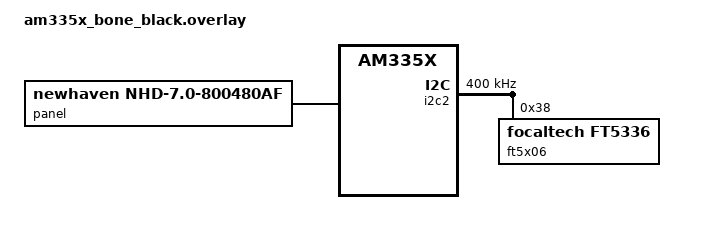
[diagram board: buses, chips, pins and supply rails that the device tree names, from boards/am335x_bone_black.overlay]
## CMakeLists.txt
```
# SPDX-License-Identifier: MIT
# Zephyr application for BeagleBone Black + NHD-7.0CTP-CAPE-P rlvgl demo.
#
# Build:
#   west build -b am335x_bone_black \
#       examples/beaglebone-black/zephyr
#
# The Rust static library is built separately and linked via
# target_link_libraries. Two-step build:
#
#   1. cargo build --target armv7a-none-eabihf \
#          -p rlvgl-example-bbb --features bare_metal,zephyr --lib
#   2. west build -b am335x_bone_black examples/beaglebone-black/zephyr

cmake_minimum_required(VERSION 3.20.0)
find_package(Zephyr REQUIRED HINTS $ENV{ZEPHYR_BASE})
project(rlvgl_bbb_zephyr C)

target_sources(app PRIVATE src/main.c)

# Link the Rust static library built by cargo.
set(RLVGL_RUST_LIB
    ${CMAKE_CURRENT_SOURCE_DIR}/../../../target/armv7a-none-eabihf/debug/librlvgl_example_bbb.a)

if(EXISTS ${RLVGL_RUST_LIB})
    target_link_libraries(app PUBLIC ${RLVGL_RUST_LIB})
else()
    message(WARNING "Rust library not found at ${RLVGL_RUST_LIB} — build the Rust side first.")
endif()
```

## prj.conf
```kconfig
# rlvgl BeagleBone Black + NHD-7.0CTP-CAPE-P Zephyr demo
#
# Kernel
CONFIG_MAIN_STACK_SIZE=16384
CONFIG_HEAP_MEM_POOL_SIZE=65536
CONFIG_SYSTEM_WORKQUEUE_STACK_SIZE=2048

# Display subsystem (LCDC driver required — may need custom driver)
CONFIG_DISPLAY=y

# I2C for FT5x06 touch controller
CONFIG_I2C=y
CONFIG_INPUT=y
CONFIG_INPUT_FT5336=y
CONFIG_INPUT_FT5336_INTERRUPT=n
CONFIG_INPUT_FT5336_PERIOD=10

# Synchronous input mode — avoids queue-full drops during render
CONFIG_INPUT_MODE_SYNCHRONOUS=y

# GPIO for backlight control
CONFIG_GPIO=y

# Serial console (UART0)
CONFIG_SERIAL=y
CONFIG_UART_INTERRUPT_DRIVEN=y
CONFIG_CONSOLE=y
CONFIG_UART_CONSOLE=y

# Logging
CONFIG_LOG=y
CONFIG_LOG_MODE_IMMEDIATE=y
CONFIG_LOG_DEFAULT_LEVEL=3

# Interrupts
CONFIG_DYNAMIC_INTERRUPTS=y
```

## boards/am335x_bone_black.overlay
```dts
/*
 * Device tree overlay for BeagleBone Black + NHD-7.0CTP-CAPE-P.
 *
 * Enables:
 * - LCDC with NHD panel timing (800x480, 33.3 MHz pclk)
 * - FT5x06 capacitive touch on I2C2 (address 0x38)
 * - Backlight GPIO
 *
 * NOTE: When the LCD cape is active, the on-board HDMI (TDA19988)
 * must be disabled since they share the LCDC and pin mux.
 */

/* FT5x06 capacitive touch on I2C2 */
&i2c2 {
	status = "okay";
	clock-frequency = <400000>;

	ft5x06@38 {
		compatible = "focaltech,ft5336";
		reg = <0x38>;
		/* int-gpios = <&gpio1 PIN GPIO_ACTIVE_LOW>; */
		/* TODO: confirm interrupt GPIO from cape schematic */
	};
};

/* LCD panel timing (for LCDC display driver) */
/ {
	panel: panel {
		compatible = "newhaven,nhd-7.0-800480af";
		status = "okay";

		display-timings {
			native-mode = <&timing0>;
			timing0: timing0 {
				clock-frequency = <33300000>;
				hactive = <800>;
				vactive = <480>;
				hfront-porch = <210>;
				hback-porch = <46>;
				hsync-len = <20>;
				vfront-porch = <22>;
				vback-porch = <23>;
				vsync-len = <10>;
				hsync-active = <0>;
				vsync-active = <0>;
				de-active = <1>;
				pixelclk-active = <0>;
			};
		};
	};
};
```

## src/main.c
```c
/*
 * SPDX-License-Identifier: MIT
 *
 * Zephyr main() for BeagleBone Black + NHD-7.0CTP-CAPE-P rlvgl demo.
 *
 * Responsibilities:
 * - Allocate framebuffers in DDR
 * - Register input callbacks (touch, keys)
 * - Call Rust rlvgl_init() with kernel objects and display info
 * - Provide FFI wrappers for Zephyr kernel API (k_sem, k_sleep, etc.)
 */

#include <zephyr/kernel.h>
#include <zephyr/device.h>
#include <zephyr/drivers/display.h>
#include <zephyr/input/input.h>
#include <zephyr/drivers/gpio.h>

#include <string.h>
#include <stdint.h>

/* ---- Display configuration ---- */

#define FB_WIDTH   800
#define FB_HEIGHT  480
#define FB_BPP     4   /* ARGB8888 */
#define FB_SIZE    (FB_WIDTH * FB_HEIGHT * FB_BPP)

/* Framebuffers in DDR (statically allocated) */
static uint8_t fb_front[FB_SIZE] __attribute__((aligned(64)));
static uint8_t fb_back[FB_SIZE]  __attribute__((aligned(64)));

/* ---- Display info struct (passed to Rust) ---- */

struct rlvgl_display_info {
    uint8_t  *fb_front;
    uint8_t  *fb_back;
    uint32_t  fb_len;
    uint16_t  width;
    uint16_t  height;
    uint16_t  pixel_size;
};

/* ---- Kernel semaphores ---- */

K_SEM_DEFINE(eof_sem, 0, 1);      /* LCDC EOF ISR gives this */

/* ---- Extern Rust functions ---- */

extern void rlvgl_init(struct k_sem *eof_sem,
                       const struct rlvgl_display_info *display_info);
extern void rlvgl_touch_event(const struct rlvgl_touch_event *evt);
extern void rlvgl_key_event(uint16_t code, uint8_t pressed);
extern void rlvgl_lcdc_eof_isr(void);

/* ---- Touch event struct (matches Rust repr(C)) ---- */

struct rlvgl_touch_event {
    int16_t x;
    int16_t y;
    uint8_t pressed;
};

/* ---- Input callback ---- */

static int16_t touch_x, touch_y;
static bool touch_pressed;

static void input_cb(struct input_event *evt, void *user_data)
{
    ARG_UNUSED(user_data);

    switch (evt->code) {
    case INPUT_ABS_X:
        touch_x = (int16_t)evt->value;
        break;
    case INPUT_ABS_Y:
        touch_y = (int16_t)evt->value;
        break;
    case INPUT_BTN_TOUCH:
        touch_pressed = evt->value != 0;
        break;
    default:
        /* Forward key events immediately */
        rlvgl_key_event(evt->code, evt->value ? 1 : 0);
        return;
    }

    if (evt->sync) {
        struct rlvgl_touch_event te = {
            .x = touch_x,
            .y = touch_y,
            .pressed = touch_pressed ? 1 : 0,
        };
        rlvgl_touch_event(&te);
    }
}
INPUT_CALLBACK_DEFINE(NULL, input_cb, NULL);

/* ---- FFI wrappers for Zephyr kernel API ---- */

int rlvgl_k_sem_take(struct k_sem *sem, int32_t timeout_ms)
{
    k_timeout_t t = (timeout_ms < 0) ? K_FOREVER : K_MSEC(timeout_ms);
    return k_sem_take(sem, t);
}

void rlvgl_k_sem_give(struct k_sem *sem)
{
    k_sem_give(sem);
}

void rlvgl_k_sleep_ms(uint32_t ms)
{
    k_sleep(K_MSEC(ms));
}

/* ---- LCDC EOF ISR wrapper ---- */

static void lcdc_eof_isr_wrapper(const void *arg)
{
    ARG_UNUSED(arg);
    rlvgl_lcdc_eof_isr();
    k_sem_give(&eof_sem);
}

/* ---- Main ---- */

int main(void)
{
    /* Clear framebuffers */
    memset(fb_front, 0, FB_SIZE);
    memset(fb_back, 0, FB_SIZE);

    /* Register LCDC EOF interrupt (IRQ 36 on AM335x) */
    irq_connect_dynamic(36, 3, lcdc_eof_isr_wrapper, NULL, 0);
    irq_enable(36);

    /* Prepare display info */
    struct rlvgl_display_info info = {
        .fb_front   = fb_front,
        .fb_back    = fb_back,
        .fb_len     = FB_SIZE,
        .width      = FB_WIDTH,
        .height     = FB_HEIGHT,
        .pixel_size = FB_BPP,
    };

    /* Hand off to Rust — this may not return if Rust runs its own loop */
    rlvgl_init(&eof_sem, &info);

    /* If rlvgl_init returns, enter idle */
    while (1) {
        k_sleep(K_FOREVER);
    }

    return 0;
}
```
